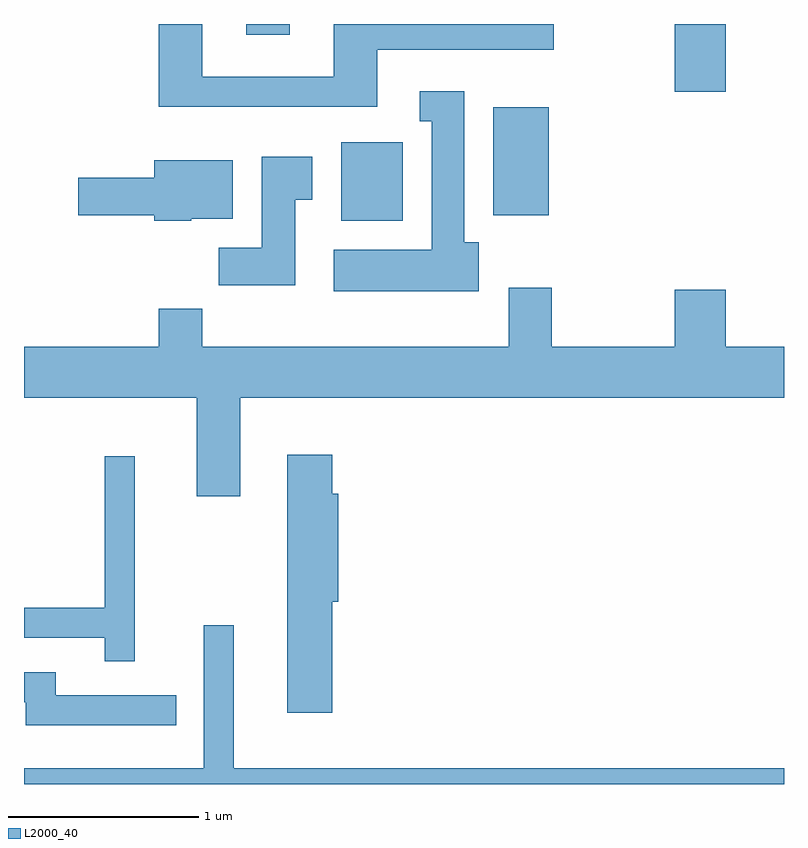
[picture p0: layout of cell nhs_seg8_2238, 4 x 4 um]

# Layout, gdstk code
import gdstk
lib = gdstk.Library(unit=1e-6, precision=1e-09)
def R(c, l, rs):  # rectangles x0, y0, x1, y1
    for r in rs: c.add(gdstk.rectangle(r[:2], r[2:], *l))
def P(c, l, *ps):  # polygons
    for p in ps: c.add(gdstk.Polygon(p, *l))
L2000_40 = (2000, 40)

nhs_seg8_2238 = lib.new_cell('nhs_seg8_2238')
R(nhs_seg8_2238, L2000_40, [(253.281,1877.306,253.604,1877.719), (254.081,1877.336,254.374,1877.904), (255.036,1877.986,255.304,1878.342), (252.781,1878.286,253.009,1878.342)])
P(nhs_seg8_2238, L2000_40, [(253.469,1878.206),(254.398,1878.206),(254.398,1878.342),(253.241,1878.342),(253.241,1878.064),(252.549,1878.064),(252.549,1878.342),(252.321,1878.342),(252.321,1877.906),(253.469,1877.906)],
  [(254.004,1877.194),(253.929,1877.194),(253.929,1877.989),(253.693,1877.989),(253.693,1877.831),(253.756,1877.831),(253.756,1877.154),(253.241,1877.154),(253.241,1876.936),(254.004,1876.936)],
  [(253.039,1877.416),(253.129,1877.416),(253.129,1877.644),(252.861,1877.644),(252.861,1877.164),(252.636,1877.164),(252.636,1876.966),(253.039,1876.966)],
  [(252.49,1877.316),(252.709,1877.316),(252.709,1877.624),(252.296,1877.624),(252.296,1877.534),(251.896,1877.534),(251.896,1877.336),(252.296,1877.336),(252.296,1877.306),(252.49,1877.306)],
  [(252.749,1876.376),(255.611,1876.376),(255.611,1876.644),(255.304,1876.644),(255.304,1876.944),(255.036,1876.944),(255.036,1876.644),(254.389,1876.644),(254.389,1876.954),(254.161,1876.954),(254.161,1876.644),(252.549,1876.644),(252.549,1876.844),(252.321,1876.844),(252.321,1876.644),(251.611,1876.644),(251.611,1876.376),(252.521,1876.376),(252.521,1875.856),(252.749,1875.856)],
  [(253.234,1875.301),(253.264,1875.301),(253.264,1875.869),(253.234,1875.869),(253.234,1876.074),(252.996,1876.074),(252.996,1874.716),(253.234,1874.716)],
  [(252.194,1876.068),(252.036,1876.068),(252.036,1875.269),(251.611,1875.269),(251.611,1875.111),(252.036,1875.111),(252.036,1874.988),(252.194,1874.988)],
  [(255.611,1874.424),(252.714,1874.424),(252.714,1875.178),(252.556,1875.178),(252.556,1874.424),(251.611,1874.424),(251.611,1874.342),(255.611,1874.342)],
  [(252.413,1874.809),(251.779,1874.809),(251.779,1874.929),(251.611,1874.929),(251.611,1874.771),(251.621,1874.771),(251.621,1874.651),(252.413,1874.651)])

lib.write_gds('nhs_seg8_2238.gds')
